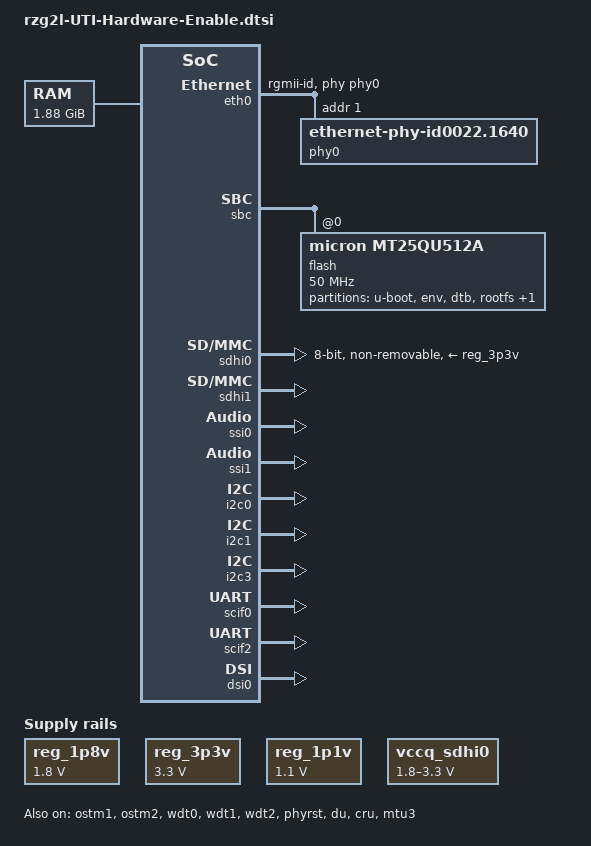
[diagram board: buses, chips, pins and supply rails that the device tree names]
// SPDX-License-Identifier: (GPL-2.0-only OR BSD-2-Clause)
/*
 * Device Tree Source for the RZ/{G2L,V2L} SMARC SOM common parts
 *
 * Copyright (C) 2021 Renesas Electronics Corp.
 */

#include <dt-bindings/gpio/gpio.h>
#include <dt-bindings/pinctrl/rzg2l-pinctrl.h>

/ {
	aliases {
		i2c3 = &i2c3;
		ethernet0 = &eth0;
		ethernet1 = &eth1;
	};

	chosen {
		bootargs = "ignore_loglevel rw root=/dev/nfs ip=on";
	};

	memory@48000000 {
		device_type = "memory";
		/* first 128MB is reserved for secure area. */
		reg = <0x0 0x48000000 0x0 0x78000000>;
	};

	reserved-memory {
		#address-cells = <2>;
		#size-cells = <2>;
		ranges;

		global_cma: linux,cma@58000000 {
			compatible = "shared-dma-pool";
			linux,cma-default;
			reusable;
			reg = <0x0 0x58000000 0x0 0x10000000>;
		};
		mmp_reserved: linux,multimedia {
			compatible = "shared-dma-pool";
			reusable;
			reg = <0x00000000 0x68000000 0x0 0x8000000>;
		};
	};

	mmngr {
		compatible = "renesas,mmngr";
		memory-region = <&mmp_reserved>;
	};

	mmngrbuf {
		compatible = "renesas,mmngrbuf";
	};

	vspm_if {
		compatible = "renesas,vspm_if";
	};

	reg_1p8v: regulator0 {
		compatible = "regulator-fixed";
		regulator-name = "fixed-1.8V";
		regulator-min-microvolt = <1800000>;
		regulator-max-microvolt = <1800000>;
		regulator-boot-on;
		regulator-always-on;
	};

	reg_3p3v: regulator1 {
		compatible = "regulator-fixed";
		regulator-name = "fixed-3.3V";
		regulator-min-microvolt = <3300000>;
		regulator-max-microvolt = <3300000>;
		regulator-boot-on;
		regulator-always-on;
	};

	reg_1p1v: regulator-vdd-core {
		compatible = "regulator-fixed";
		regulator-name = "fixed-1.1V";
		regulator-min-microvolt = <1100000>;
		regulator-max-microvolt = <1100000>;
		regulator-boot-on;
		regulator-always-on;
	};

	vccq_sdhi0: regulator-vccq-sdhi0 {
		compatible = "regulator-gpio";

		regulator-name = "SDHI0 VccQ";
		regulator-min-microvolt = <1800000>;
		regulator-max-microvolt = <3300000>;
		states = <3300000 1>, <1800000 0>;
		regulator-boot-on;
		gpios = <&pinctrl RZG2L_GPIO(39, 0) GPIO_ACTIVE_HIGH>;
		regulator-always-on;
	};
};

&eth0 {
	pinctrl-0 = <&eth0_pins>;
	pinctrl-names = "default";
	phy-handle = <&phy0>;
	phy-mode = "rgmii-id";
	status = "okay";
	
	//local-mac-address = [00 1B C4 03 D0 8F]; **NOTE: this cannot be overridden easily so do not put in device tree. it is handled in uboot:
	//in include/configs/UTI_rzg2l_board.h

	phy0: ethernet-phy@1 {
		compatible = "ethernet-phy-id0022.1640",
			     "ethernet-phy-ieee802.3-c22";
		reg = <1>;
		rxc-skew-psec = <2400>;
		txc-skew-psec = <2400>;
		rxdv-skew-psec = <0>;
		txen-skew-psec = <0>;
		rxd0-skew-psec = <0>;
		rxd1-skew-psec = <0>;
		rxd2-skew-psec = <0>;
		rxd3-skew-psec = <0>;
		txd0-skew-psec = <0>;
		txd1-skew-psec = <0>;
		txd2-skew-psec = <0>;
		txd3-skew-psec = <0>;

		interrupt-parent = <&pinctrl>;
		//interrupts = <RZG2L_GPIO(1, 0) IRQ_TYPE_LEVEL_LOW>;
	};
};


&extal_clk {
	clock-frequency = <24000000>;
};

&gpu {
	mali-supply = <&reg_1p1v>;
};

&ostm1 {
	status = "okay";
};

&ostm2 {
	status = "okay";
};

&sbc {
	pinctrl-0 = <&qspi0_pins>;
	pinctrl-names = "default";
	status = "okay";

	flash@0 {
		compatible = "micron,mt25qu512a", "jedec,spi-nor";
		reg = <0>;
		m25p,fast-read;
		spi-max-frequency = <50000000>;
		spi-rx-bus-width = <4>;
		spi-tx-bus-width = <4>;

		partitions {
			compatible = "fixed-partitions";
			#address-cells = <1>;
			#size-cells = <1>;

			partition@0000000 {
				label = "u-boot";
				reg = <0x00000000 0x80000>;
				read-only;
			};
			partition@80000 {
				label = "env";
				reg = <0x00080000 0x40000>;
				read-only;
			};
			partition@C0000 {
				label = "dtb";
				reg = <0x000C0000 0x40000>;
				read-only;
			};
			partition@800000 {
				label = "rootfs";
				/* 16MB @ 8MB offset in SPI Flash */
				reg = <0x00800000 0x01000000>;
			};
			partition@2000000 {
				label = "test-area";
				reg = <0x02000000 0x00100000>;
			};
		};
	};
};

&sdhi0 {
	pinctrl-0 = <&sdhi0_emmc_pins>;
	pinctrl-1 = <&sdhi0_emmc_pins>;
	pinctrl-names = "default", "state_uhs";

	vmmc-supply = <&reg_3p3v>;
	vqmmc-supply = <&reg_1p8v>;
	bus-width = <8>;
	mmc-hs200-1_8v;
	non-removable;
	fixed-emmc-driver-type = <1>;
	status = "okay";
};

&sdhi1 {
        status = "okay";
};

&ssi0 {
        status = "okay";
};

&ssi1 {
        status = "okay";
};


&wdt0 {
	status = "okay";
	timeout-sec = <60>;
};

&wdt1 {
	status = "okay";
	timeout-sec = <60>;
};

&wdt2 {
	status = "okay";
	timeout-sec = <60>;
};

/*&poega {
	status = "okay";
};

&poegb {
	status = "okay";
};

&poegc {
	status = "okay";
};

&poegd {
	status = "okay";
};

&gpt2 {
	status = "okay";
};*/

&ehci0 {
	memory-region = <&global_cma>;
};

&ohci0 {
	memory-region = <&global_cma>;
};

&ehci1 {
	memory-region = <&global_cma>;
};

&ohci1 {
	memory-region = <&global_cma>;
};

&i2c0 {
	status = "okay";
};

&i2c1 {
	status = "okay";
};

&audio_clk1{
	clock-frequency = <12288000>;
};

&audio_clk2{
	clock-frequency = <12288000>;
};


/*&ehci0 { //USB
	dr_mode = "otg";
	status = "okay";
};*/

/*&ehci1 { //USB
	status = "okay";
};*/

/*&hsusb { //USB
	dr_mode = "otg";
	status = "okay";
};*/


&i2c3 {
	status = "okay";
	//pinctrl-names = "default";
	//pinctrl-0 = <&i2c3_pins>;		
};

/*&ohci0 { //USB
	dr_mode = "otg";
	status = "okay";
};*/

/*&ohci1 { //USB
	status = "okay";
};*/

&phyrst {
	status = "okay";
};

&scif0 {
	status = "okay";
};

&scif2 { 
        status = "okay";
};


/*&usb2_phy0 { //USB
	pinctrl-0 = <&usb0_pins>;
	pinctrl-names = "default";

	vbus-supply = <&usb0_vbus_otg>;
	status = "okay";
};*/

/*&usb2_phy1 { //USB
	pinctrl-0 = <&usb1_pins>;
	pinctrl-names = "default";

	status = "okay";
};*/

&du {
	status = "okay";
};

&dsi0 {
        status = "okay";
};

&cru {
	status = "okay";
};


&intc_ex {
    status = "okay";
};

&spi1 {
	status = "disabled";
};

&mtu3 {
	status = "okay";
};



